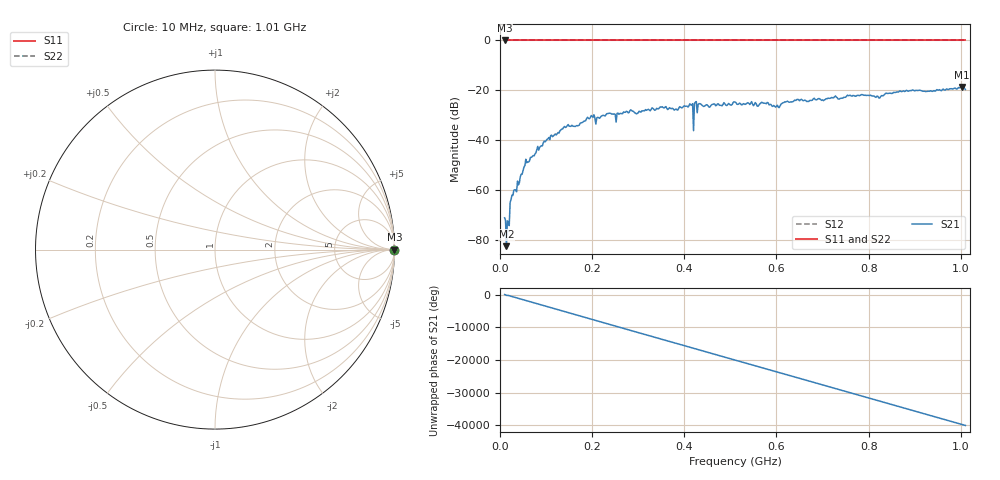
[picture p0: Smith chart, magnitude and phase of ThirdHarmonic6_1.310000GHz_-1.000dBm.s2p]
! 8/16/2025 2:29:16 PM
! C:\ANRITSUVNA\TEMP\TEMP.S2P
! CHANNEL.1
! TR.MEASUREMENT
! RAW.DATA
! RF.CORRECTION.OFF
! AVERAGING.OFF
! IF.BANDWIDTH: 5KHZ
! SWEEPTYPE:  FREQ.SWEEP(Linear)
! Reference Plane Port Info
! PORT:  PORT1  PORT2
! DISTANCE:  0  m  0  m
! TIME:  0  s  0  s
! PHASE.OFFSET:  0  deg.  0  deg.
! LOSS:  0  dB  0  dB
! REF.LOSS:  0  dB  0  dB
! REF.FREQ:  0  Hz  0  Hz
! Power Info
! POWER:  -20  dBm  -20  dBm
! EFF.POWER:  -20  dBm  -20  dBm
! SOURCE.ATTEN:  0  dB  0  dB
! TEST.ATTEN:  0  dB  0  dB
# GHZ S RI R 50.0
! FREQ.GHZ  S11RE  S11IM  S21RE  S21IM  S12RE  S12IM  S22RE  S22IM
!; PortSelection: Port_12
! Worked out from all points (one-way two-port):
!   501 points, 10 MHz to 1.01 GHz, reference 50 ohm
!   highest |S21| = -18.64 dB at 1.002 GHz (marker M1); lowest = -82.4 dB at 14 MHz (marker M2)
!   lowest |S11| = 0.0 dB at 10 MHz (marker M3)
!   |S11| at or under -10 dB: nowhere
!   |S22| runs from 0.0 to 0.0 dB; largest |S21 - S12| = 1.1
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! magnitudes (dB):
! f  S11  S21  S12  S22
! 10 MHz  0.0  -71.0  0.0  0.0
! 14 MHz  0.0  -82.4  0.0  0.0
! 18 MHz  0.0  -72.7  0.0  0.0
! 26 MHz  0.0  -62.0  0.0  0.0
! 56 MHz  0.0  -47.6  0.0  0.0
! 108 MHz  0.0  -39.7  0.0  0.0
! 144 MHz  0.0  -34.6  0.0  0.0
! 178 MHz  0.0  -32.9  0.0  0.0
! 200 MHz  0.0  -30.4  0.0  0.0
! 212 MHz  0.0  -30.8  0.0  0.0
! 236 MHz  0.0  -29.2  0.0  0.0
! 344 MHz  0.0  -27.4  0.0  0.0
! 414 MHz  0.0  -25.7  0.0  0.0
! 416 MHz  0.0  -25.9  0.0  0.0
! 424 MHz  0.0  -24.7  0.0  0.0
! 426 MHz  0.0  -24.5  0.0  0.0
! 510 MHz  0.0  -24.7  0.0  0.0
! 602 MHz  0.0  -25.9  0.0  0.0
! 678 MHz  0.0  -23.9  0.0  0.0
! 844 MHz  0.0  -21.1  0.0  0.0
! 1.002 GHz  0.0  -18.6  0.0  0.0
! 1.01 GHz  0.0  -19.7  0.0  0.0
